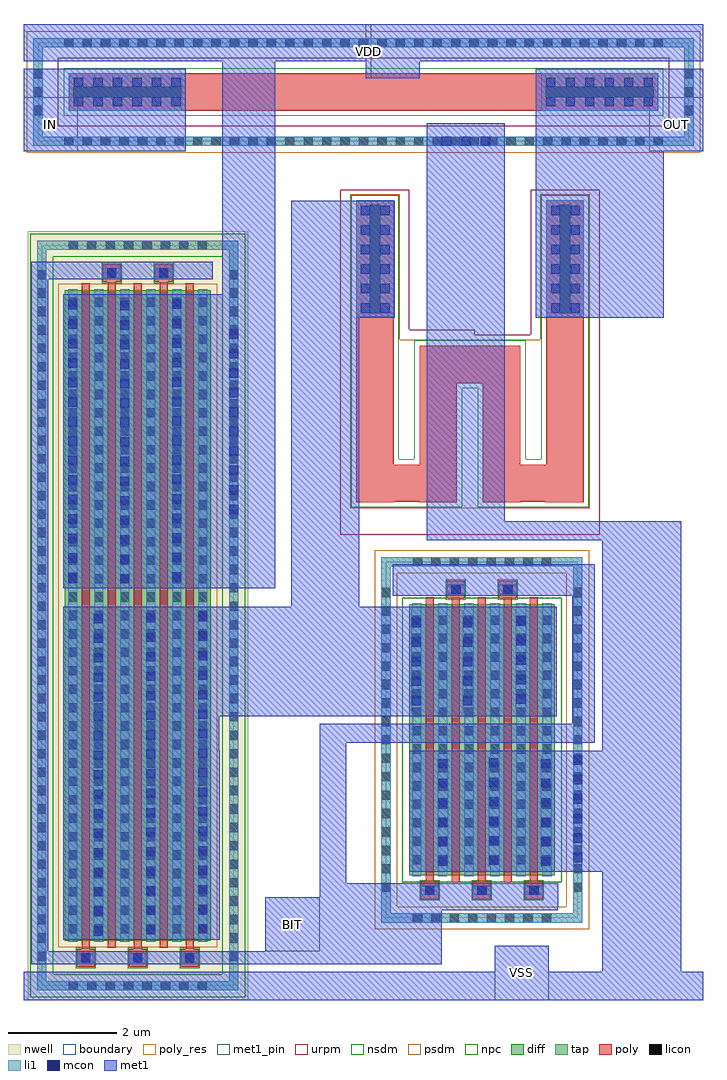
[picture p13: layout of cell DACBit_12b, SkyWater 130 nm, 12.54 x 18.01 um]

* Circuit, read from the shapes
.subckt DACBit_12b BIT IN OUT VDD VSS
XM1 VSS BIT n1 VSS sky130_fd_pr__nfet_01v8 w=5 l=0.15 m=5
XM2 n1 BIT VDD VDD sky130_fd_pr__pfet_01v8 w=12 l=0.15 m=5
XR3 OUT IN VSS sky130_fd_pr__res_xhigh_po w=0.69 l=6.6
XR4 n1 OUT VSS sky130_fd_pr__res_xhigh_po w=0.69 l=14.08
.ends

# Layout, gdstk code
from math import pi, radians
import gdstk
lib = gdstk.Library(unit=1e-6, precision=1e-09)
def R(c, l, rs):  # rectangles x0, y0, x1, y1
    for r in rs: c.add(gdstk.rectangle(r[:2], r[2:], *l))
def A(c, l, x, y, w, h, nx, ny, dx, dy):  # array of equal rectangles
    R(c, l, [(x+i*dx, y+j*dy, x+i*dx+w, y+j*dy+h) for i in range(nx) for j in range(ny)])
nwell = (64, 20)
diff = (65, 20)
tap = (65, 44)
poly_res = (66, 13)
poly = (66, 20)
licon = (66, 44)
li1 = (67, 20)
mcon = (67, 44)
met1_pin = (68, 16)
met1 = (68, 20)
urpm = (79, 20)
nsdm = (93, 44)
psdm = (94, 20)
npc = (95, 20)
boundary = (235, 4)

sky130_fd_pr__nfet_01v8_ = lib.new_cell('sky130_fd_pr__nfet_01v8_7FRVUR')
R(sky130_fd_pr__nfet_01v8_, diff, [(-1.345,-2.5,1.345,2.5)])
R(sky130_fd_pr__nfet_01v8_, tap, [(-1.855,-3.37,1.855,-3.2), (-1.855,-3.2,-1.685,3.2), (1.685,-3.2,1.855,3.2), (-1.855,3.2,1.855,3.37)])
A(sky130_fd_pr__nfet_01v8_, poly, -1.125, -2.94, 0.33, 0.33, 3, 1, 0.96, 0)
A(sky130_fd_pr__nfet_01v8_, poly, -1.035, -2.61, 0.15, 5.24, 3, 1, 0.96, 0)
R(sky130_fd_pr__nfet_01v8_, poly, [(-0.555,-2.63,-0.405,2.61), (0.405,-2.63,0.555,2.61), (-0.645,2.61,-0.315,2.94), (0.315,2.61,0.645,2.94)])
A(sky130_fd_pr__nfet_01v8_, licon, -1.275, -3.37, 0.17, 0.17, 8, 2, 0.34, 6.57)
A(sky130_fd_pr__nfet_01v8_, licon, -1.045, -2.86, 0.17, 0.17, 3, 1, 0.96, 0)
A(sky130_fd_pr__nfet_01v8_, licon, -1.855, -2.805, 0.17, 0.17, 1, 17, 0, 0.34)
A(sky130_fd_pr__nfet_01v8_, licon, 1.685, -2.805, 0.17, 0.17, 1, 17, 0, 0.34)
A(sky130_fd_pr__nfet_01v8_, licon, -1.285, -2.295, 0.17, 0.17, 6, 14, 0.48, 0.34)
R(sky130_fd_pr__nfet_01v8_, licon, [(-0.565,2.69,-0.395,2.86), (0.395,2.69,0.565,2.86)])
A(sky130_fd_pr__nfet_01v8_, li1, -1.125, -2.86, 0.33, 0.17, 3, 1, 0.96, 0)
A(sky130_fd_pr__nfet_01v8_, li1, -1.285, -2.52, 0.17, 5.04, 6, 1, 0.48, 0)
R(sky130_fd_pr__nfet_01v8_, li1, [(-1.855,-3.37,1.855,-3.2), (-1.855,-3.2,-1.685,3.2), (1.685,-3.2,1.855,3.2), (-0.645,2.69,-0.315,2.86), (0.315,2.69,0.645,2.86), (-1.855,3.2,1.855,3.37)])
A(sky130_fd_pr__nfet_01v8_, mcon, -1.045, -2.86, 0.17, 0.17, 3, 1, 0.96, 0)
R(sky130_fd_pr__nfet_01v8_, mcon, [(-0.565,2.69,-0.395,2.86), (0.395,2.69,0.565,2.86)])
A(sky130_fd_pr__nfet_01v8_, met1, -1.105, -2.89, 0.29, 0.23, 3, 1, 0.96, 0)
R(sky130_fd_pr__nfet_01v8_, met1, [(-0.625,2.66,-0.335,2.89), (0.335,2.66,0.625,2.89)])
R(sky130_fd_pr__nfet_01v8_, nsdm, [(-1.47,-2.625,1.47,2.625)])
R(sky130_fd_pr__nfet_01v8_, psdm, [(-1.98,-3.495,1.98,-3.075), (-1.98,-3.075,-1.56,3.075), (1.56,-3.075,1.98,3.075), (-1.98,3.075,1.98,3.495)])
A(sky130_fd_pr__nfet_01v8_, npc, -1.145, -2.96, 0.37, 0.37, 3, 1, 0.96, 0)
R(sky130_fd_pr__nfet_01v8_, npc, [(-0.665,2.59,-0.295,2.96), (0.295,2.59,0.665,2.96)])
R(sky130_fd_pr__nfet_01v8_, boundary, [(-1.77,-3.285,1.77,3.285)])

sky130_fd_pr__pfet_01v8_ = lib.new_cell('sky130_fd_pr__pfet_01v8_5CSJH8')
R(sky130_fd_pr__pfet_01v8_, nwell, [(-2.035,-7.095,2.035,7.095)])
R(sky130_fd_pr__pfet_01v8_, diff, [(-1.345,-6,1.345,6)])
R(sky130_fd_pr__pfet_01v8_, tap, [(-1.855,-6.915,1.855,-6.745), (-1.855,-6.745,-1.685,6.745), (1.685,-6.745,1.855,6.745), (-1.855,6.745,1.855,6.915)])
A(sky130_fd_pr__pfet_01v8_, poly, -1.125, -6.485, 0.33, 0.33, 3, 1, 0.96, 0)
A(sky130_fd_pr__pfet_01v8_, poly, -1.035, -6.155, 0.15, 12.285, 3, 1, 0.96, 0)
R(sky130_fd_pr__pfet_01v8_, poly, [(-0.555,-6.13,-0.405,6.155), (0.405,-6.13,0.555,6.155), (-0.645,6.155,-0.315,6.485), (0.315,6.155,0.645,6.485)])
A(sky130_fd_pr__pfet_01v8_, licon, -1.275, -6.915, 0.17, 0.17, 8, 2, 0.34, 13.66)
A(sky130_fd_pr__pfet_01v8_, licon, -1.045, -6.405, 0.17, 0.17, 3, 1, 0.96, 0)
A(sky130_fd_pr__pfet_01v8_, licon, -1.855, -6.375, 0.17, 0.17, 1, 38, 0, 0.34)
A(sky130_fd_pr__pfet_01v8_, licon, 1.685, -6.375, 0.17, 0.17, 1, 38, 0, 0.34)
A(sky130_fd_pr__pfet_01v8_, licon, -1.285, -5.865, 0.17, 0.17, 6, 35, 0.48, 0.34)
R(sky130_fd_pr__pfet_01v8_, licon, [(-0.565,6.235,-0.395,6.405), (0.395,6.235,0.565,6.405)])
A(sky130_fd_pr__pfet_01v8_, li1, -1.125, -6.405, 0.33, 0.17, 3, 1, 0.96, 0)
A(sky130_fd_pr__pfet_01v8_, li1, -1.285, -6.02, 0.17, 12.04, 6, 1, 0.48, 0)
R(sky130_fd_pr__pfet_01v8_, li1, [(-1.855,-6.915,1.855,-6.745), (-1.855,-6.745,-1.685,6.745), (1.685,-6.745,1.855,6.745), (-0.645,6.235,-0.315,6.405), (0.315,6.235,0.645,6.405), (-1.855,6.745,1.855,6.915)])
A(sky130_fd_pr__pfet_01v8_, mcon, -1.045, -6.405, 0.17, 0.17, 3, 1, 0.96, 0)
R(sky130_fd_pr__pfet_01v8_, mcon, [(-0.565,6.235,-0.395,6.405), (0.395,6.235,0.565,6.405)])
A(sky130_fd_pr__pfet_01v8_, met1, -1.105, -6.435, 0.29, 0.23, 3, 1, 0.96, 0)
R(sky130_fd_pr__pfet_01v8_, met1, [(-0.625,6.205,-0.335,6.435), (0.335,6.205,0.625,6.435)])
R(sky130_fd_pr__pfet_01v8_, nsdm, [(-1.98,-7.04,1.98,-6.62), (-1.98,-6.62,-1.56,6.62), (1.56,-6.62,1.98,6.62), (-1.98,6.62,1.98,7.04)])
R(sky130_fd_pr__pfet_01v8_, psdm, [(-1.47,-6.125,1.47,6.125)])
A(sky130_fd_pr__pfet_01v8_, npc, -1.145, -6.505, 0.37, 0.37, 3, 1, 0.96, 0)
R(sky130_fd_pr__pfet_01v8_, npc, [(-0.665,6.135,-0.295,6.505), (0.295,6.135,0.665,6.505)])
R(sky130_fd_pr__pfet_01v8_, boundary, [(-1.77,-6.83,1.77,6.83)])

sky130_fd_pr__res_xhigh_ = lib.new_cell('sky130_fd_pr__res_xhigh_po_0p69_2VWDUB')
A(sky130_fd_pr__res_xhigh_, poly_res, -2.1, 2.78, 0.69, 0.005, 4, 1, 1.17, 0)
R(sky130_fd_pr__res_xhigh_, poly_res, [(-2.1,-0.705,-1.41,2.09), (1.41,-0.705,2.1,2.09), (-0.93,-0.105,0.93,0.585), (-0.93,0.585,-0.24,2.09), (0.24,0.585,0.93,2.09), (-2.1,2.09,-0.24,2.78), (0.24,2.09,2.1,2.78)])
A(sky130_fd_pr__res_xhigh_, poly, -2.1, 2.78, 0.69, 0.005, 4, 1, 1.17, 0)
R(sky130_fd_pr__res_xhigh_, poly, [(-2.1,-2.785,-1.41,2.09), (1.41,-2.785,2.1,2.09), (-0.93,-0.105,0.93,0.585), (-0.93,0.585,-0.24,2.09), (0.24,0.585,0.93,2.09), (-2.1,2.09,-0.24,2.78), (0.24,2.09,2.1,2.78)])
R(sky130_fd_pr__res_xhigh_, licon, [(-1.85,-2.705,-1.66,-0.705), (1.66,-2.705,1.85,-0.705)])
R(sky130_fd_pr__res_xhigh_, li1, [(-2.1,-2.785,-1.41,-0.625), (1.41,-2.785,2.1,-0.625)])
R(sky130_fd_pr__res_xhigh_, urpm, [(-2.39,-2.985,-1.12,-0.305), (1.12,-2.985,2.39,-0.395), (-0.09,-0.395,2.39,-0.305), (-2.39,-0.305,2.39,3.385)])
R(sky130_fd_pr__res_xhigh_, psdm, [(-2.21,-2.895,-1.3,-0.215), (1.3,-2.895,2.21,-0.215), (-2.21,-0.215,2.21,2.895)])
A(sky130_fd_pr__res_xhigh_, npc, -2.195, 2.875, 0.88, 0.005, 4, 1, 1.17, 0)
R(sky130_fd_pr__res_xhigh_, npc, [(-2.195,-2.88,-1.315,1.995), (1.315,-2.88,2.195,1.995), (-1.025,-0.2,1.025,0.68), (-1.025,0.68,-0.145,1.995), (0.145,0.68,1.025,1.995), (-2.195,1.995,-0.145,2.875), (0.145,1.995,2.195,2.875)])

c_sky130_fd_pr__res_xhigh_ = lib.new_cell('sky130_fd_pr__res_xhigh_po_0p69_5AX4BB')
R(c_sky130_fd_pr__res_xhigh_, tap, [(-0.995,-6.09,0.995,-5.92), (-0.995,-5.92,-0.825,5.92), (0.825,-5.92,0.995,5.92), (-0.995,5.92,0.995,6.09)])
R(c_sky130_fd_pr__res_xhigh_, poly_res, [(-0.345,-3.36,0.345,3.36)])
R(c_sky130_fd_pr__res_xhigh_, poly, [(-0.345,-5.44,0.345,5.44)])
A(c_sky130_fd_pr__res_xhigh_, licon, -0.425, -6.09, 0.17, 0.17, 3, 2, 0.34, 12.01)
A(c_sky130_fd_pr__res_xhigh_, licon, -0.995, -5.525, 0.17, 0.17, 1, 33, 0, 0.34)
A(c_sky130_fd_pr__res_xhigh_, licon, 0.825, -5.525, 0.17, 0.17, 1, 33, 0, 0.34)
R(c_sky130_fd_pr__res_xhigh_, licon, [(-0.095,-5.36,0.095,-3.36), (-0.095,3.36,0.095,5.36)])
R(c_sky130_fd_pr__res_xhigh_, li1, [(-0.995,-6.09,0.995,-5.92), (-0.995,-5.92,-0.825,5.92), (0.825,-5.92,0.995,5.92), (-0.345,-5.44,0.345,-3.28), (-0.345,3.28,0.345,5.44), (-0.995,5.92,0.995,6.09)])
A(c_sky130_fd_pr__res_xhigh_, mcon, -0.265, -5.345, 0.17, 0.17, 1, 6, 0, 0.36)
A(c_sky130_fd_pr__res_xhigh_, mcon, 0.095, -5.345, 0.17, 0.17, 1, 6, 0, 0.36)
A(c_sky130_fd_pr__res_xhigh_, mcon, -0.265, 3.37, 0.17, 0.17, 1, 6, 0, 0.36)
A(c_sky130_fd_pr__res_xhigh_, mcon, 0.095, 3.37, 0.17, 0.17, 1, 6, 0, 0.36)
R(c_sky130_fd_pr__res_xhigh_, met1, [(-0.295,-5.41,0.295,-3.305), (-0.295,3.305,0.295,5.41)])
R(c_sky130_fd_pr__res_xhigh_, urpm, [(-0.635,-5.64,0.635,5.64)])
R(c_sky130_fd_pr__res_xhigh_, psdm, [(-1.12,-6.215,1.12,6.215)])
R(c_sky130_fd_pr__res_xhigh_, npc, [(-0.44,-5.535,0.44,5.535)])
R(c_sky130_fd_pr__res_xhigh_, boundary, [(-0.91,-6.005,0.91,6.005)])

dacbit_12b = lib.new_cell('DACBit_12b')
R(dacbit_12b, li1, [(14.54,-5.5,14.71,0.45), (15.51,-5.48,15.68,0.47), (16.47,-5.46,16.64,0.49), (20.89,-4.22,21.08,-2.22), (22.79,-4.22,22.98,-2.22), (21.83,-4.2,22.02,-2.2), (23.39,-4.17,23.56,-2.13), (23.39,-2.13,23.55,-2.07), (20.4,-1.38,20.59,0.51), (21.35,-1.38,21.54,0.51), (22.33,-1.35,22.52,0.54), (15.03,0.96,15.2,6.27), (14.07,0.98,14.24,6.29), (15.99,0.99,16.16,6.3), (17.04,2.22,17.21,5.76), (19.44,5.96,20.03,8.02), (22.95,5.96,23.54,8.02), (20.83,9.08,21.99,9.25)])
A(dacbit_12b, mcon, 14.54, -5.49, 0.17, 0.17, 1, 17, 0, 0.36)
A(dacbit_12b, mcon, 15.51, -5.47, 0.17, 0.17, 1, 17, 0, 0.36)
A(dacbit_12b, mcon, 16.47, -5.45, 0.17, 0.17, 1, 17, 0, 0.36)
A(dacbit_12b, mcon, 20.9, -4.205, 0.17, 0.17, 1, 6, 0, 0.36)
A(dacbit_12b, mcon, 22.8, -4.205, 0.17, 0.17, 1, 6, 0, 0.36)
A(dacbit_12b, mcon, 21.84, -4.185, 0.17, 0.17, 1, 6, 0, 0.36)
A(dacbit_12b, mcon, 23.39, -4.135, 0.17, 0.17, 1, 6, 0, 0.36)
A(dacbit_12b, mcon, 20.41, -1.24, 0.17, 0.17, 1, 5, 0, 0.36)
A(dacbit_12b, mcon, 21.36, -1.24, 0.17, 0.17, 1, 5, 0, 0.36)
A(dacbit_12b, mcon, 22.34, -1.21, 0.17, 0.17, 1, 5, 0, 0.36)
A(dacbit_12b, mcon, 15.03, 1.01, 0.17, 0.17, 1, 15, 0, 0.36)
A(dacbit_12b, mcon, 14.07, 1.03, 0.17, 0.17, 1, 15, 0, 0.36)
A(dacbit_12b, mcon, 15.99, 1.04, 0.17, 0.17, 1, 15, 0, 0.36)
A(dacbit_12b, mcon, 17.04, 2.285, 0.17, 0.17, 1, 10, 0, 0.36)
A(dacbit_12b, mcon, 19.47, 6.005, 0.17, 0.17, 1, 6, 0, 0.36)
A(dacbit_12b, mcon, 19.83, 6.005, 0.17, 0.17, 1, 6, 0, 0.36)
A(dacbit_12b, mcon, 22.98, 6.005, 0.17, 0.17, 1, 6, 0, 0.36)
A(dacbit_12b, mcon, 23.34, 6.005, 0.17, 0.17, 1, 6, 0, 0.36)
A(dacbit_12b, mcon, 20.965, 9.08, 0.17, 0.17, 3, 1, 0.36, 0)
R(dacbit_12b, met1_pin, [(21.94,-6.68,22.94,-5.68), (17.71,-5.78,18.71,-4.78), (13.25,8.98,14.25,9.98), (24.79,8.98,25.79,9.98), (19.56,10.33,19.66,11.33)])
R(dacbit_12b, met1, [(13.25,-6.68,25.79,-6.16), (21.94,-6.16,22.94,-5.68), (23.93,-6.16,25.38,-4.31), (13.39,-6.02,20.96,-5.78), (13.39,-5.78,13.7,6.62), (17.71,-5.78,20.96,-5.02), (13.98,-5.57,16.87,-2.08), (17.71,-5.02,23.105,-4.97), (17.71,-4.97,23.11,-4.78), (18.71,-4.78,23.11,-4.53), (18.71,-4.53,19.2,-1.93), (20.36,-4.31,25.38,-2.08), (13.98,-2.08,16.86,-1.44), (23.93,-2.08,25.38,1.8), (18.71,-1.93,23.79,-1.58), (23.37,-1.58,23.79,0.78), (13.98,-1.44,23.09,0.58), (18.19,0.58,19.44,5.91), (20.06,0.78,23.79,1.36), (13.98,0.92,17.89,6.34), (20.69,1.8,25.38,2.15), (20.69,2.15,22.13,9.5), (18.19,5.91,20.1,8.07), (22.7,5.91,25.06,8.98), (16.91,6.34,17.89,10.64), (13.39,6.62,16.74,6.94), (13.25,8.98,16.24,10.5), (22.7,8.98,25.79,10.5), (19.56,10.33,20.56,10.64), (13.25,10.64,25.79,11.33)])
dacbit_12b.add(gdstk.Reference(sky130_fd_pr__nfet_01v8_, (21.705,-1.88)))
dacbit_12b.add(gdstk.Reference(sky130_fd_pr__pfet_01v8_, (15.355,0.415)))
dacbit_12b.add(gdstk.Reference(sky130_fd_pr__res_xhigh_, (21.485,5.29), rotation=pi))
dacbit_12b.add(gdstk.Reference(c_sky130_fd_pr__res_xhigh_, (19.52,10.075), rotation=3*pi/2))
dacbit_12b.add(gdstk.Label('VSS', (22.44,-6.18), layer=68, texttype=5))
dacbit_12b.add(gdstk.Label('BIT', (18.21,-5.28), layer=68, texttype=5))
dacbit_12b.add(gdstk.Label('VDD', (19.61,10.83), layer=68, texttype=5))
dacbit_12b.add(gdstk.Label('OUT', (25.29,9.48), layer=68, texttype=5))
dacbit_12b.add(gdstk.Label('IN', (13.75,9.48), layer=68, texttype=5))

lib.write_gds('DACBit_12b.gds')
